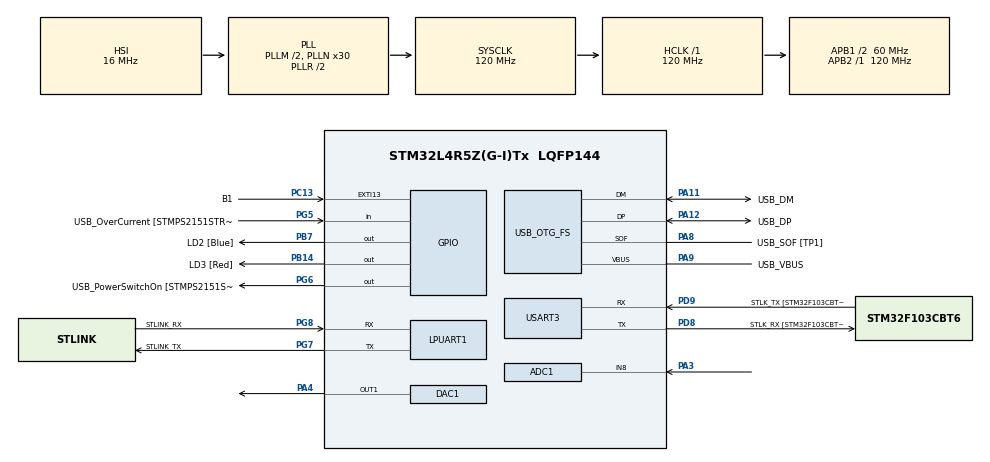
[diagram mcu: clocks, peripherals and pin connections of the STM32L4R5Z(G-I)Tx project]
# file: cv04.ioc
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ADC1.Channel-0\#ChannelRegularConversion=ADC_CHANNEL_8
ADC1.ExternalTrigConv=ADC_EXTERNALTRIG_T3_TRGO
ADC1.NbrOfConversionFlag=1
ADC1.OffsetNumber-0\#ChannelRegularConversion=ADC_OFFSET_NONE
ADC1.Rank-0\#ChannelRegularConversion=1
ADC1.SamplingTime-0\#ChannelRegularConversion=ADC_SAMPLETIME_2CYCLES_5
ADC1.master=1
FREERTOS.BinarySemaphores01=Semaphore1,Dynamic,NULL,Depleted
FREERTOS.Tasks01=Filtrace,24,256,StartFiltrace,Default,NULL,Dynamic,NULL,NULL
FREERTOS.configUSE_NEWLIB_REENTRANT=1
Mcu.Family=STM32L4
Mcu.Name=STM32L4R5Z(G-I)Tx
Mcu.Package=LQFP144
NVIC.ADC1_IRQn=true\:5\:0\:false\:false\:true\:true\:true\:true\:true
NVIC.EXTI15_10_IRQn=true\:5\:0\:false\:false\:true\:true\:true\:true\:true
NVIC.PriorityGroup=NVIC_PRIORITYGROUP_4
NVIC.TIM3_IRQn=true\:5\:0\:false\:false\:true\:true\:true\:true\:true
NVIC.TIM6_DAC_IRQn=true\:5\:0\:false\:false\:true\:false\:false\:true\:true
NVIC.TIM7_IRQn=true\:5\:0\:false\:false\:true\:true\:true\:true\:true
NVIC.TimeBase=TIM6_DAC_IRQn
NVIC.TimeBaseIP=TIM6
PA10.GPIO_Label=USB_ID
PA10.Signal=USB_OTG_FS_ID
PA11.GPIO_Label=USB_DM
PA11.Mode=Device_Only
PA11.Signal=USB_OTG_FS_DM
PA12.GPIO_Label=USB_DP
PA12.Mode=Device_Only
PA12.Signal=USB_OTG_FS_DP
PA13\ (JTMS/SWDIO).GPIO_Label=TMS
PA13\ (JTMS/SWDIO).Mode=Trace_Asynchronous_SW
PA13\ (JTMS/SWDIO).Signal=SYS_JTMS-SWDIO
PA14\ (JTCK/SWCLK).GPIO_Label=TCK
PA14\ (JTCK/SWCLK).Mode=Trace_Asynchronous_SW
PA14\ (JTCK/SWCLK).Signal=SYS_JTCK-SWCLK
PA3.Signal=ADCx_IN8
PA4.Signal=COMP_DAC11_group
PA8.GPIO_Label=USB_SOF [TP1]
PA8.Mode=Activate_SOF_FS
PA8.Signal=USB_OTG_FS_SOF
PA9.GPIO_Label=USB_VBUS
PA9.Mode=Activate_VBUS
PA9.Signal=USB_OTG_FS_VBUS
PB14.GPIO_Label=LD3 [Red]
PB14.Signal=GPIO_Output
PB3\ (JTDO/TRACESWO).GPIO_Label=SWO
PB3\ (JTDO/TRACESWO).Mode=Trace_Asynchronous_SW
PB3\ (JTDO/TRACESWO).Signal=SYS_JTDO-SWO
PB7.GPIO_Label=LD2 [Blue]
PB7.Signal=GPIO_Output
PC13.GPIO_Label=B1
PC13.Signal=GPXTI13
PC14-OSC32_IN\ (PC14).Mode=LSE-External-Oscillator
PC14-OSC32_IN\ (PC14).Signal=RCC_OSC32_IN
PC15-OSC32_OUT\ (PC15).Mode=LSE-External-Oscillator
PC15-OSC32_OUT\ (PC15).Signal=RCC_OSC32_OUT
PD8.GPIO_Label=STLK_RX [STM32F103CBT6_PA3]
PD8.Mode=Asynchronous
PD8.Signal=USART3_TX
PD9.GPIO_Label=STLK_TX [STM32F103CBT6_PA2]
PD9.Mode=Asynchronous
PD9.Signal=USART3_RX
PG5.GPIO_Label=USB_OverCurrent [STMPS2151STR_FAULT]
PG5.Signal=GPIO_Input
PG6.GPIO_Label=USB_PowerSwitchOn [STMPS2151STR_EN]
PG6.Signal=GPIO_Output
PG7.GPIO_Label=STLINK_TX
PG7.Mode=Asynchronous
PG7.Signal=LPUART1_TX
PG8.GPIO_Label=STLINK_RX
PG8.Mode=Asynchronous
PG8.Signal=LPUART1_RX
PH0-OSC_IN\ (PH0).Signal=RCC_OSC_IN
PH1-OSC_OUT\ (PH1).Signal=RCC_OSC_OUT
ProjectManager.HeapSize=0x200
ProjectManager.StackSize=0x400
ProjectManager.TargetToolchain=STM32CubeIDE
RCC.48MHZClocksFreq_Value=24000000
RCC.ADCFreq_Value=96000000
RCC.AHBFreq_Value=120000000
RCC.APB1CLKDivider=RCC_HCLK_DIV2
RCC.APB1Freq_Value=60000000
RCC.APB1TimFreq_Value=120000000
RCC.APB2Freq_Value=120000000
RCC.APB2TimFreq_Value=120000000
RCC.CK48CLockSelection=RCC_USBCLKSOURCE_HSI48
RCC.CortexFreq_Value=120000000
RCC.HCLKFreq_Value=120000000
RCC.HSE_VALUE=8000000
RCC.HSI48_VALUE=48000000
RCC.HSI_VALUE=16000000
RCC.MSI_VALUE=4000000
RCC.PLLM1=2
RCC.PLLMUL=RCC_PLL_MUL9
RCC.PLLN=30
RCC.PLLSAI1N=12
RCC.PLLSourceVirtual=RCC_PLLSOURCE_HSI
RCC.PRESCALERUSB=RCC_USBCLKSOURCE_PLL_DIV1_5
RCC.SYSCLKFreq_VALUE=120000000
RCC.SYSCLKSource=RCC_SYSCLKSOURCE_PLLCLK
RCC.SYSCLKSourceVirtual=RCC_SYSCLKSOURCE_PLLCLK
RCC.USBFreq_Value=48000000
RCC.VCOOutputFreq_Value=240000000
SH.ADCx_IN8.0=ADC1_IN8,IN8-Single-Ended
SH.COMP_DAC11_group.0=DAC1_OUT1,DAC_OUT1
TIM3.AutoReloadPreload=TIM_AUTORELOAD_PRELOAD_ENABLE
TIM3.Period=10000-1
TIM3.Prescaler=6000-1
TIM3.TIM_MasterOutputTrigger=TIM_TRGO_UPDATE
TIM7.AutoReloadPreload=TIM_AUTORELOAD_PRELOAD_ENABLE
TIM7.Period=10000-1
TIM7.Prescaler=6000-1
TIM7.TIM_MasterOutputTrigger=TIM_TRGO_UPDATE
USART3.VirtualMode-Asynchronous=VM_ASYNC
USB_OTG_FS.VirtualMode=Device_Only
VP_FREERTOS_VS_CMSIS_V2.Mode=CMSIS_V2
VP_SYS_VS_tim6.Mode=TIM6
VP_TIM3_VS_ClockSourceINT.Mode=Internal
VP_TIM7_VS_ClockSourceINT.Mode=Enable_Timer
board=NUCLEO-L4R5ZI

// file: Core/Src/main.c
/* USER CODE BEGIN Header */
/**
  ******************************************************************************
  * @file           : main.c
  * @brief          : Main program body
  ******************************************************************************
  * @attention
  *
  * Copyright (c) 2024 STMicroelectronics.
  * All rights reserved.
  *
  * This software is licensed under terms that can be found in the LICENSE file
  * in the root directory of this software component.
  * If no LICENSE file comes with this software, it is provided AS-IS.
  *
  ******************************************************************************
  */
/* USER CODE END Header */
#include "main.h"
#include "cmsis_os.h"

/* USER CODE BEGIN PM */
uint32_t ExecTime=0;
uint32_t ADCData=0;
uint32_t k = 0;
uint32_t N = 10;
/* USER CODE END PM */

ADC_HandleTypeDef hadc1;

DAC_HandleTypeDef hdac1;

UART_HandleTypeDef hlpuart1;
UART_HandleTypeDef huart3;

TIM_HandleTypeDef htim3;
TIM_HandleTypeDef htim7;

PCD_HandleTypeDef hpcd_USB_OTG_FS;

/* Definitions for Filtrace */
osThreadId_t FiltraceHandle;
const osThreadAttr_t Filtrace_attributes = {
  .name = "Filtrace",
  .stack_size = 256 * 4,
  .priority = (osPriority_t) osPriorityNormal,
};
/* Definitions for Semaphore1 */
osSemaphoreId_t Semaphore1Handle;
const osSemaphoreAttr_t Semaphore1_attributes = {
  .name = "Semaphore1"
};

void SystemClock_Config(void);
static void MX_GPIO_Init(void);
static void MX_LPUART1_UART_Init(void);
static void MX_USART3_UART_Init(void);
static void MX_USB_OTG_FS_PCD_Init(void);
static void MX_TIM7_Init(void);
static void MX_ADC1_Init(void);
static void MX_TIM3_Init(void);
static void MX_DAC1_Init(void);
void StartFiltrace(void *argument);

int main(void)
{

  /* MCU Configuration--------------------------------------------------------*/

  /* Reset of all peripherals, Initializes the Flash interface and the Systick. */
  HAL_Init();

  /* Configure the system clock */
  SystemClock_Config();

  /* Initialize all configured peripherals */
  MX_GPIO_Init();
  MX_LPUART1_UART_Init();
  MX_USART3_UART_Init();
  MX_USB_OTG_FS_PCD_Init();
  MX_TIM7_Init();
  MX_ADC1_Init();
  MX_TIM3_Init();
  MX_DAC1_Init();
  /* USER CODE BEGIN 2 */
  HAL_TIM_Base_Start_IT(&htim3);
  HAL_ADC_Start_IT(&hadc1);
  HAL_DAC_Start(&hdac1, DAC1_CHANNEL_1);
  /* USER CODE END 2 */

  /* Init scheduler */
  osKernelInitialize();

  /* Create the semaphores(s) */
  /* creation of Semaphore1 */
  Semaphore1Handle = osSemaphoreNew(1, 0, &Semaphore1_attributes);

  /* Create the thread(s) */
  /* creation of Filtrace */
  FiltraceHandle = osThreadNew(StartFiltrace, NULL, &Filtrace_attributes);

  /* Start scheduler */
  osKernelStart();

  /* We should never get here as control is now taken by the scheduler */

  /* Infinite loop */
  while (1)
  {

  }
}

void SystemClock_Config(void)
{
  RCC_OscInitTypeDef RCC_OscInitStruct = {0};
  RCC_ClkInitTypeDef RCC_ClkInitStruct = {0};

  /** Configure the main internal regulator output voltage
  */
  if (HAL_PWREx_ControlVoltageScaling(PWR_REGULATOR_VOLTAGE_SCALE1_BOOST) != HAL_OK)
  {
    Error_Handler();
  }

  /** Initializes the RCC Oscillators according to the specified parameters
  * in the RCC_OscInitTypeDef structure.
  */
  RCC_OscInitStruct.OscillatorType = RCC_OSCILLATORTYPE_HSI48|RCC_OSCILLATORTYPE_HSI;
  RCC_OscInitStruct.HSIState = RCC_HSI_ON;
  RCC_OscInitStruct.HSI48State = RCC_HSI48_ON;
  RCC_OscInitStruct.HSICalibrationValue = RCC_HSICALIBRATION_DEFAULT;
  RCC_OscInitStruct.PLL.PLLState = RCC_PLL_ON;
  RCC_OscInitStruct.PLL.PLLSource = RCC_PLLSOURCE_HSI;
  RCC_OscInitStruct.PLL.PLLM = 2;
  RCC_OscInitStruct.PLL.PLLN = 30;
  RCC_OscInitStruct.PLL.PLLP = RCC_PLLP_DIV2;
  RCC_OscInitStruct.PLL.PLLQ = RCC_PLLQ_DIV2;
  RCC_OscInitStruct.PLL.PLLR = RCC_PLLR_DIV2;
  if (HAL_RCC_OscConfig(&RCC_OscInitStruct) != HAL_OK)
  {
    Error_Handler();
  }

  /** Initializes the CPU, AHB and APB buses clocks
  */
  RCC_ClkInitStruct.ClockType = RCC_CLOCKTYPE_HCLK|RCC_CLOCKTYPE_SYSCLK
                              |RCC_CLOCKTYPE_PCLK1|RCC_CLOCKTYPE_PCLK2;
  RCC_ClkInitStruct.SYSCLKSource = RCC_SYSCLKSOURCE_PLLCLK;
  RCC_ClkInitStruct.AHBCLKDivider = RCC_SYSCLK_DIV1;
  RCC_ClkInitStruct.APB1CLKDivider = RCC_HCLK_DIV2;
  RCC_ClkInitStruct.APB2CLKDivider = RCC_HCLK_DIV1;

  if (HAL_RCC_ClockConfig(&RCC_ClkInitStruct, FLASH_LATENCY_5) != HAL_OK)
  {
    Error_Handler();
  }
}

static void MX_ADC1_Init(void)
{

  ADC_ChannelConfTypeDef sConfig = {0};

  /** Common config
  */
  hadc1.Instance = ADC1;
  hadc1.Init.ClockPrescaler = ADC_CLOCK_ASYNC_DIV2;
  hadc1.Init.Resolution = ADC_RESOLUTION_12B;
  hadc1.Init.DataAlign = ADC_DATAALIGN_RIGHT;
  hadc1.Init.ScanConvMode = ADC_SCAN_DISABLE;
  hadc1.Init.EOCSelection = ADC_EOC_SINGLE_CONV;
  hadc1.Init.LowPowerAutoWait = DISABLE;
  hadc1.Init.ContinuousConvMode = DISABLE;
  hadc1.Init.NbrOfConversion = 1;
  hadc1.Init.DiscontinuousConvMode = DISABLE;
  hadc1.Init.ExternalTrigConv = ADC_EXTERNALTRIG_T3_TRGO;
  hadc1.Init.ExternalTrigConvEdge = ADC_EXTERNALTRIGCONVEDGE_RISING;
  hadc1.Init.DMAContinuousRequests = DISABLE;
  hadc1.Init.Overrun = ADC_OVR_DATA_PRESERVED;
  hadc1.Init.OversamplingMode = DISABLE;
  if (HAL_ADC_Init(&hadc1) != HAL_OK)
  {
    Error_Handler();
  }

  /** Configure Regular Channel
  */
  sConfig.Channel = ADC_CHANNEL_8;
  sConfig.Rank = ADC_REGULAR_RANK_1;
  sConfig.SamplingTime = ADC_SAMPLETIME_2CYCLES_5;
  sConfig.SingleDiff = ADC_SINGLE_ENDED;
  sConfig.OffsetNumber = ADC_OFFSET_NONE;
  sConfig.Offset = 0;
  if (HAL_ADC_ConfigChannel(&hadc1, &sConfig) != HAL_OK)
  {
    Error_Handler();
  }
  /* USER CODE BEGIN ADC1_Init 2 */
  HAL_ADCEx_Calibration_Start(&hadc1, ADC_SINGLE_ENDED);

  /* USER CODE END ADC1_Init 2 */

}

static void MX_DAC1_Init(void)
{

  DAC_ChannelConfTypeDef sConfig = {0};

  /** DAC Initialization
  */
  hdac1.Instance = DAC1;
  if (HAL_DAC_Init(&hdac1) != HAL_OK)
  {
    Error_Handler();
  }

  /** DAC channel OUT1 config
  */
  sConfig.DAC_SampleAndHold = DAC_SAMPLEANDHOLD_DISABLE;
  sConfig.DAC_Trigger = DAC_TRIGGER_NONE;
  sConfig.DAC_HighFrequency = DAC_HIGH_FREQUENCY_INTERFACE_MODE_DISABLE;
  sConfig.DAC_OutputBuffer = DAC_OUTPUTBUFFER_ENABLE;
  sConfig.DAC_ConnectOnChipPeripheral = DAC_CHIPCONNECT_DISABLE;
  sConfig.DAC_UserTrimming = DAC_TRIMMING_FACTORY;
  if (HAL_DAC_ConfigChannel(&hdac1, &sConfig, DAC_CHANNEL_1) != HAL_OK)
  {
    Error_Handler();
  }

}

static void MX_LPUART1_UART_Init(void)
{

  hlpuart1.Instance = LPUART1;
  hlpuart1.Init.BaudRate = 209700;
  hlpuart1.Init.WordLength = UART_WORDLENGTH_7B;
  hlpuart1.Init.StopBits = UART_STOPBITS_1;
  hlpuart1.Init.Parity = UART_PARITY_NONE;
  hlpuart1.Init.Mode = UART_MODE_TX_RX;
  hlpuart1.Init.HwFlowCtl = UART_HWCONTROL_NONE;
  hlpuart1.Init.OneBitSampling = UART_ONE_BIT_SAMPLE_DISABLE;
  hlpuart1.Init.ClockPrescaler = UART_PRESCALER_DIV1;
  hlpuart1.AdvancedInit.AdvFeatureInit = UART_ADVFEATURE_NO_INIT;
  hlpuart1.FifoMode = UART_FIFOMODE_DISABLE;
  if (HAL_UART_Init(&hlpuart1) != HAL_OK)
  {
    Error_Handler();
  }
  if (HAL_UARTEx_SetTxFifoThreshold(&hlpuart1, UART_TXFIFO_THRESHOLD_1_8) != HAL_OK)
  {
    Error_Handler();
  }
  if (HAL_UARTEx_SetRxFifoThreshold(&hlpuart1, UART_RXFIFO_THRESHOLD_1_8) != HAL_OK)
  {
    Error_Handler();
  }
  if (HAL_UARTEx_DisableFifoMode(&hlpuart1) != HAL_OK)
  {
    Error_Handler();
  }

}

static void MX_USART3_UART_Init(void)
{

  huart3.Instance = USART3;
  huart3.Init.BaudRate = 115200;
  huart3.Init.WordLength = UART_WORDLENGTH_8B;
  huart3.Init.StopBits = UART_STOPBITS_1;
  huart3.Init.Parity = UART_PARITY_NONE;
  huart3.Init.Mode = UART_MODE_TX_RX;
  huart3.Init.HwFlowCtl = UART_HWCONTROL_NONE;
  huart3.Init.OverSampling = UART_OVERSAMPLING_16;
  huart3.Init.OneBitSampling = UART_ONE_BIT_SAMPLE_DISABLE;
  huart3.Init.ClockPrescaler = UART_PRESCALER_DIV1;
  huart3.AdvancedInit.AdvFeatureInit = UART_ADVFEATURE_NO_INIT;
  if (HAL_UART_Init(&huart3) != HAL_OK)
  {
    Error_Handler();
  }
  if (HAL_UARTEx_SetTxFifoThreshold(&huart3, UART_TXFIFO_THRESHOLD_1_8) != HAL_OK)
  {
    Error_Handler();
  }
  if (HAL_UARTEx_SetRxFifoThreshold(&huart3, UART_RXFIFO_THRESHOLD_1_8) != HAL_OK)
  {
    Error_Handler();
  }
  if (HAL_UARTEx_DisableFifoMode(&huart3) != HAL_OK)
  {
    Error_Handler();
  }

}

static void MX_TIM3_Init(void)
{

  TIM_ClockConfigTypeDef sClockSourceConfig = {0};
  TIM_MasterConfigTypeDef sMasterConfig = {0};

  htim3.Instance = TIM3;
  htim3.Init.Prescaler = 6000-1;
  htim3.Init.CounterMode = TIM_COUNTERMODE_UP;
  htim3.Init.Period = 10000-1;
  htim3.Init.ClockDivision = TIM_CLOCKDIVISION_DIV1;
  htim3.Init.AutoReloadPreload = TIM_AUTORELOAD_PRELOAD_ENABLE;
  if (HAL_TIM_Base_Init(&htim3) != HAL_OK)
  {
    Error_Handler();
  }
  sClockSourceConfig.ClockSource = TIM_CLOCKSOURCE_INTERNAL;
  if (HAL_TIM_ConfigClockSource(&htim3, &sClockSourceConfig) != HAL_OK)
  {
    Error_Handler();
  }
  sMasterConfig.MasterOutputTrigger = TIM_TRGO_UPDATE;
  sMasterConfig.MasterSlaveMode = TIM_MASTERSLAVEMODE_DISABLE;
  if (HAL_TIMEx_MasterConfigSynchronization(&htim3, &sMasterConfig) != HAL_OK)
  {
    Error_Handler();
  }

}

static void MX_TIM7_Init(void)
{

  TIM_MasterConfigTypeDef sMasterConfig = {0};

  htim7.Instance = TIM7;
  htim7.Init.Prescaler = 6000-1;
  htim7.Init.CounterMode = TIM_COUNTERMODE_UP;
  htim7.Init.Period = 10000-1;
  htim7.Init.AutoReloadPreload = TIM_AUTORELOAD_PRELOAD_ENABLE;
  if (HAL_TIM_Base_Init(&htim7) != HAL_OK)
  {
    Error_Handler();
  }
  sMasterConfig.MasterOutputTrigger = TIM_TRGO_UPDATE;
  sMasterConfig.MasterSlaveMode = TIM_MASTERSLAVEMODE_DISABLE;
  if (HAL_TIMEx_MasterConfigSynchronization(&htim7, &sMasterConfig) != HAL_OK)
  {
    Error_Handler();
  }

}

static void MX_USB_OTG_FS_PCD_Init(void)
{

  hpcd_USB_OTG_FS.Instance = USB_OTG_FS;
  hpcd_USB_OTG_FS.Init.dev_endpoints = 6;
  hpcd_USB_OTG_FS.Init.speed = PCD_SPEED_FULL;
  hpcd_USB_OTG_FS.Init.phy_itface = PCD_PHY_EMBEDDED;
  hpcd_USB_OTG_FS.Init.Sof_enable = ENABLE;
  hpcd_USB_OTG_FS.Init.low_power_enable = DISABLE;
  hpcd_USB_OTG_FS.Init.lpm_enable = DISABLE;
  hpcd_USB_OTG_FS.Init.battery_charging_enable = ENABLE;
  hpcd_USB_OTG_FS.Init.use_dedicated_ep1 = DISABLE;
  hpcd_USB_OTG_FS.Init.vbus_sensing_enable = ENABLE;
  if (HAL_PCD_Init(&hpcd_USB_OTG_FS) != HAL_OK)
  {
    Error_Handler();
  }

}

static void MX_GPIO_Init(void)
{
  GPIO_InitTypeDef GPIO_InitStruct = {0};

  /* GPIO Ports Clock Enable */
  __HAL_RCC_GPIOC_CLK_ENABLE();
  __HAL_RCC_GPIOH_CLK_ENABLE();
  __HAL_RCC_GPIOA_CLK_ENABLE();
  __HAL_RCC_GPIOB_CLK_ENABLE();
  __HAL_RCC_GPIOD_CLK_ENABLE();
  __HAL_RCC_GPIOG_CLK_ENABLE();
  HAL_PWREx_EnableVddIO2();

  /*Configure GPIO pin Output Level */
  HAL_GPIO_WritePin(GPIOB, LD3_Pin|LD2_Pin, GPIO_PIN_RESET);

  /*Configure GPIO pin Output Level */
  HAL_GPIO_WritePin(USB_PowerSwitchOn_GPIO_Port, USB_PowerSwitchOn_Pin, GPIO_PIN_RESET);

  /*Configure GPIO pin : B1_Pin */
  GPIO_InitStruct.Pin = B1_Pin;
  GPIO_InitStruct.Mode = GPIO_MODE_IT_RISING;
  GPIO_InitStruct.Pull = GPIO_NOPULL;
  HAL_GPIO_Init(B1_GPIO_Port, &GPIO_InitStruct);

  /*Configure GPIO pins : LD3_Pin LD2_Pin */
  GPIO_InitStruct.Pin = LD3_Pin|LD2_Pin;
  GPIO_InitStruct.Mode = GPIO_MODE_OUTPUT_PP;
  GPIO_InitStruct.Pull = GPIO_NOPULL;
  GPIO_InitStruct.Speed = GPIO_SPEED_FREQ_LOW;
  HAL_GPIO_Init(GPIOB, &GPIO_InitStruct);

  /*Configure GPIO pin : USB_OverCurrent_Pin */
  GPIO_InitStruct.Pin = USB_OverCurrent_Pin;
  GPIO_InitStruct.Mode = GPIO_MODE_INPUT;
  GPIO_InitStruct.Pull = GPIO_NOPULL;
  HAL_GPIO_Init(USB_OverCurrent_GPIO_Port, &GPIO_InitStruct);

  /*Configure GPIO pin : USB_PowerSwitchOn_Pin */
  GPIO_InitStruct.Pin = USB_PowerSwitchOn_Pin;
  GPIO_InitStruct.Mode = GPIO_MODE_OUTPUT_PP;
  GPIO_InitStruct.Pull = GPIO_NOPULL;
  GPIO_InitStruct.Speed = GPIO_SPEED_FREQ_LOW;
  HAL_GPIO_Init(USB_PowerSwitchOn_GPIO_Port, &GPIO_InitStruct);

  /* EXTI interrupt init*/
  HAL_NVIC_SetPriority(EXTI15_10_IRQn, 5, 0);
  HAL_NVIC_EnableIRQ(EXTI15_10_IRQn);

}

/* USER CODE BEGIN 4 */

void HAL_ADC_ConvCpltCallback (ADC_HandleTypeDef * hadc) {
	osSemaphoreRelease(Semaphore1Handle);
}

/* USER CODE END 4 */

#define N 10
void StartFiltrace(void *argument)
{
  /* USER CODE BEGIN 5 */
  uint32_t x; // Proměnná pro aktuální vzorek
  uint32_t buffer[N] = {0}; // Kruhový buffer pro N vzorků, inicializován na 0
  int index = 0; // Index pro přístup do bufferu
  uint32_t sum = 0; // Součet všech prvků v bufferu

  /* Infinite loop */
  for (;;)
  {
    // Získání nového ADC vzorku
    x = HAL_ADC_GetValue(&hadc1);

    // Aktualizace bufferu
    sum -= buffer[index]; // Odečti starý prvek z celkového součtu
    buffer[index] = x; // Přepiš aktuální prvek novým vzorkem
    sum += x; // Přičti nový prvek do celkového součtu

    // Posun indexu v kruhovém bufferu
    index = (index + 1) % N;

    // Výpočet klouzavého průměru
    ADCData = sum / N;

    // Synchronizace s dalšími úkoly (pokud je potřeba)
    osSemaphoreAcquire(Semaphore1Handle, osWaitForever);
  }
  /* USER CODE END 5 */
}

void HAL_TIM_PeriodElapsedCallback(TIM_HandleTypeDef *htim)
{
  if (htim->Instance == TIM6) {
    HAL_IncTick();
  }
  /* USER CODE BEGIN Callback 1 */
	if (htim==&htim3){
	}
  /* USER CODE END Callback 1 */
}

void Error_Handler(void)
{
  __disable_irq();
  while (1)
  {
  }
}
